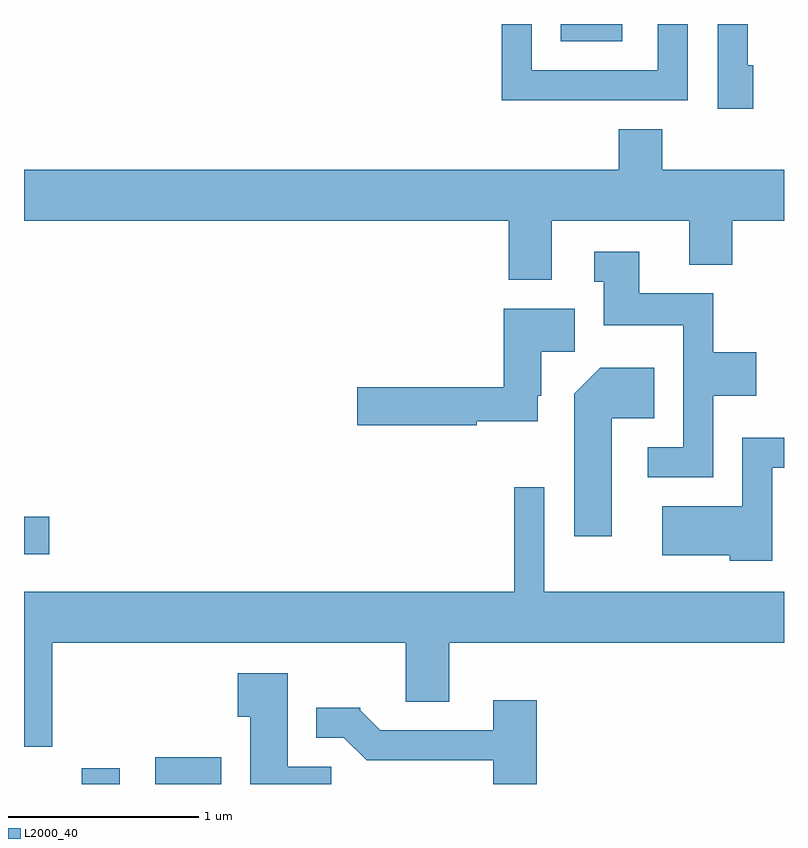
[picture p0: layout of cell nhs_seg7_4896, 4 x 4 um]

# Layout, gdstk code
import gdstk
lib = gdstk.Library(unit=1e-6, precision=1e-09)
def R(c, l, rs):  # rectangles x0, y0, x1, y1
    for r in rs: c.add(gdstk.rectangle(r[:2], r[2:], *l))
def P(c, l, *ps):  # polygons
    for p in ps: c.add(gdstk.Polygon(p, *l))
L2000_40 = (2000, 40)

nhs_seg7_4896 = lib.new_cell('nhs_seg7_4896')
R(nhs_seg7_4896, L2000_40, [(335.916,1700.252,336.114,1700.334), (336.303,1700.252,336.649,1700.394), (335.611,1701.461,335.744,1701.659), (338.436,1704.161,338.759,1704.252)])
P(nhs_seg7_4896, L2000_40, [(339.104,1704.252),(338.946,1704.252),(338.946,1704.009),(338.284,1704.009),(338.284,1704.252),(338.126,1704.252),(338.126,1703.851),(339.104,1703.851)],
  [(339.449,1704.034),(339.419,1704.034),(339.419,1704.252),(339.261,1704.252),(339.261,1703.806),(339.449,1703.806)],
  [(338.389,1703.216),(339.111,1703.216),(339.111,1702.986),(339.339,1702.986),(339.339,1703.216),(339.611,1703.216),(339.611,1703.484),(338.969,1703.484),(338.969,1703.699),(338.741,1703.699),(338.741,1703.484),(335.611,1703.484),(335.611,1703.216),(338.161,1703.216),(338.161,1702.906),(338.389,1702.906)],
  [(339.239,1702.296),(339.464,1702.296),(339.464,1702.524),(339.239,1702.524),(339.239,1702.834),(338.849,1702.834),(338.849,1703.054),(338.613,1703.054),(338.613,1702.896),(338.661,1702.896),(338.661,1702.666),(339.081,1702.666),(339.081,1702.024),(338.893,1702.024),(338.893,1701.866),(339.239,1701.866)],
  [(337.994,1702.161),(338.314,1702.161),(338.314,1702.296),(338.334,1702.296),(338.334,1702.526),(338.509,1702.526),(338.509,1702.754),(338.136,1702.754),(338.136,1702.339),(337.366,1702.339),(337.366,1702.141),(337.994,1702.141)],
  [(338.704,1702.176),(338.929,1702.176),(338.929,1702.444),(338.644,1702.444),(338.506,1702.307),(338.506,1701.556),(338.704,1701.556)],
  [(339.549,1701.916),(339.611,1701.916),(339.611,1702.074),(339.391,1702.074),(339.391,1701.714),(338.971,1701.714),(338.971,1701.456),(339.326,1701.456),(339.326,1701.426),(339.549,1701.426)],
  [(335.759,1700.996),(337.621,1700.996),(337.621,1700.686),(337.849,1700.686),(337.849,1700.996),(339.611,1700.996),(339.611,1701.264),(338.349,1701.264),(338.349,1701.813),(338.191,1701.813),(338.191,1701.264),(335.611,1701.264),(335.611,1700.448),(335.759,1700.448)],
  [(337.229,1700.344),(336.999,1700.344),(336.999,1700.834),(336.736,1700.834),(336.736,1700.606),(336.801,1700.606),(336.801,1700.252),(337.229,1700.252)],
  [(338.309,1700.694),(338.081,1700.694),(338.081,1700.534),(337.487,1700.534),(337.38,1700.641),(337.38,1700.654),(337.148,1700.654),(337.148,1700.496),(337.294,1700.496),(337.414,1700.376),(338.081,1700.376),(338.081,1700.252),(338.309,1700.252)])

lib.write_gds('nhs_seg7_4896.gds')
